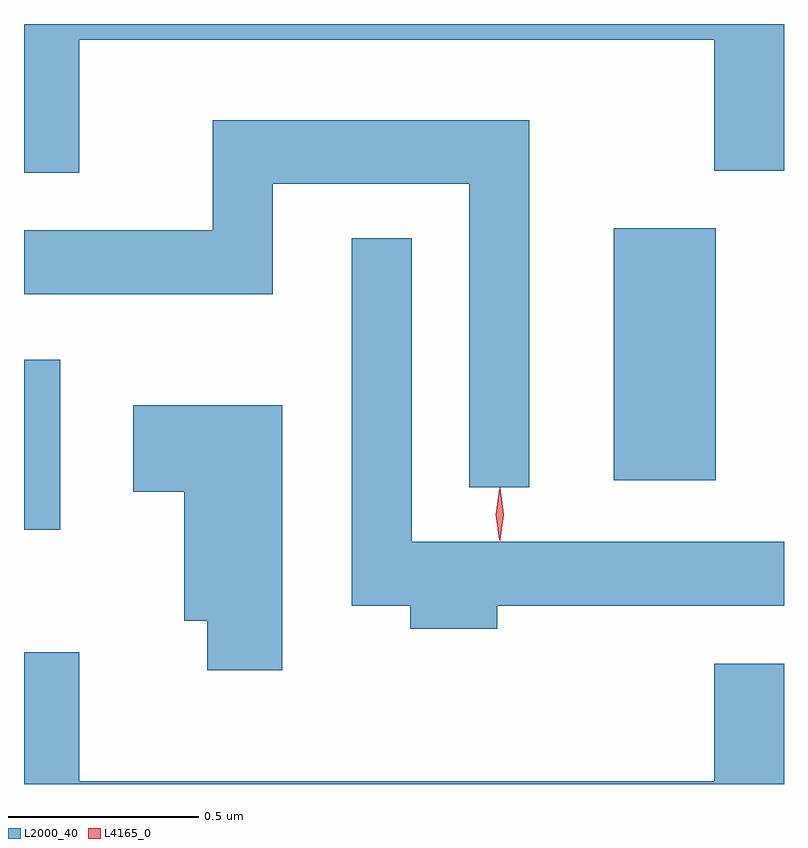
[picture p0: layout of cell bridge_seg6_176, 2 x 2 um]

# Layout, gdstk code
import gdstk
lib = gdstk.Library(unit=1e-6, precision=1e-09)
def R(c, l, rs):  # rectangles x0, y0, x1, y1
    for r in rs: c.add(gdstk.rectangle(r[:2], r[2:], *l))
def P(c, l, *ps):  # polygons
    for p in ps: c.add(gdstk.Polygon(p, *l))
L2000_40 = (2000, 40)
L4165_0 = (4165, 0)

bridge_seg6_176 = lib.new_cell('bridge_seg6_176')
R(bridge_seg6_176, L2000_40, [(1101.704,1575.386,1101.799,1575.834), (1103.256,1575.516,1103.524,1576.179)])
P(bridge_seg6_176, L2000_40, [(1101.849,1576.676),(1103.521,1576.676),(1103.521,1576.331),(1103.704,1576.331),(1103.704,1576.717),(1101.704,1576.717),(1101.704,1576.326),(1101.849,1576.326)],
  [(1103.034,1576.464),(1102.201,1576.464),(1102.201,1576.174),(1101.704,1576.174),(1101.704,1576.006),(1102.359,1576.006),(1102.359,1576.296),(1102.876,1576.296),(1102.876,1575.498),(1103.034,1575.498)],
  [(1102.949,1575.186),(1103.704,1575.186),(1103.704,1575.354),(1102.724,1575.354),(1102.724,1576.153),(1102.566,1576.153),(1102.566,1575.186),(1102.721,1575.186),(1102.721,1575.126),(1102.949,1575.126)],
  [(1102.384,1575.714),(1101.991,1575.714),(1101.991,1575.486),(1102.126,1575.486),(1102.126,1575.146),(1102.186,1575.146),(1102.186,1575.016),(1102.384,1575.016)],
  [(1103.704,1575.034),(1103.521,1575.034),(1103.521,1574.724),(1101.849,1574.724),(1101.849,1575.064),(1101.704,1575.064),(1101.704,1574.717),(1103.704,1574.717)])
P(bridge_seg6_176, L4165_0, [(1102.956,1575.359),(1102.955,1575.36),(1102.946,1575.426),(1102.955,1575.492),(1102.956,1575.493),(1102.956,1575.492),(1102.966,1575.426),(1102.956,1575.36)],
  [(1102.957,1575.357),(1102.956,1575.358),(1102.947,1575.427),(1102.956,1575.496),(1102.957,1575.496),(1102.957,1575.496),(1102.967,1575.427),(1102.957,1575.358)])

lib.write_gds('bridge_seg6_176.gds')
